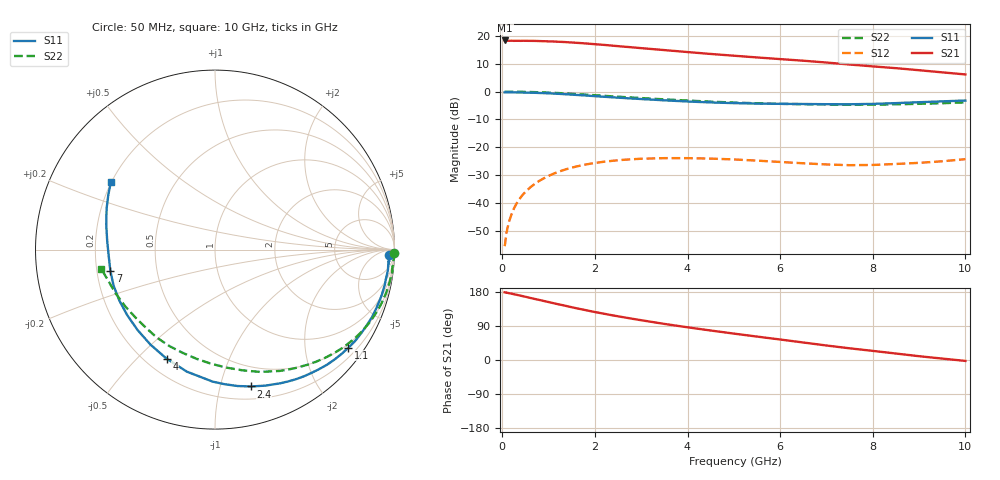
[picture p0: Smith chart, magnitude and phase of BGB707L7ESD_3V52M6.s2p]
! (c) 2009  Infineon Technologies AG, Munich
!  Infineon Technologies AG
!  BGB707L7ESD RU919007 w#7 Sample Build #08493 Teil Nr. 3
!  Vce = 3.5V, Ic = 2.6mA
!  DATUM: 30.06.2009 10:56:40
# GHz  S  MA  R  50
!f  S11  S21  S12  S22
!GHz  Mag  Ang  Mag  Ang  Mag  Ang  Mag  Ang
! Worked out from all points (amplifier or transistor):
!   52 points, 50 MHz to 10 GHz, reference 50 ohm
!   highest |S21| = 18.3 dB at 60 MHz (marker M1)
!   |S21| within 3 dB of that: start of sweep to 3.175 GHz
!   unconditionally stable (mu >= 1): 6.901 GHz to end of sweep
!   at 130 MHz: K = 0.03, MSG = 33.0 dB, |S12| = -47.7 dB
!   at 1.4 GHz: K = 0.08, MSG = 22.7 dB, |S12| = -27.7 dB
!   at 10 GHz: K = 1.06, MAG = 13.7 dB, |S12| = -24.2 dB
!   lowest NFmin = 0.40 dB at 100 MHz
!   S11 on the Smith chart (normalised r, x): 50 MHz: 34, -33; 1.1 GHz: 0.41, -3.00; 2.4 GHz: 0.31, -1.25; 4 GHz: 0.28, -0.61; 7 GHz: 0.26, -0.09; 10 GHz: 0.20, +0.29
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0.05  0.9698 -1.7  8.116 178.8  0.001692 85.8  0.9974 -0.9
0.06  0.9726 -2.2  8.267 178.6  0.001847 87.6  0.9979 -1.3
0.08  0.969 -2.4  8.122 177.8  0.002482 86.7  0.9982 -1.8
0.09  0.9708 -3.1  8.185 178.2  0.002993 84.8  0.9981 -2.0
0.1  0.9713 -3.4  8.145 177.3  0.003127 85.8  0.9976 -2.3
0.15  0.9688 -4.9  8.153 176.2  0.00479 85.6  0.9967 -3.5
0.35  0.966 -11.7  8.155 170.9  0.01117 81.9  0.9931 -8.1
0.7  0.9521 -23.2  8.119 161.1  0.02212 74.2  0.9789 -16.2
1.1  0.9227 -36.3  7.921 150.1  0.03358 65.3  0.9513 -25.3
1.5  0.8833 -48.9  7.598 139.2  0.04329 56.7  0.9136 -34.1
1.8  0.8508 -58.2  7.312 131.6  0.04927 50.8  0.8828 -40.3
2.2  0.808 -69.7  6.88 122.0  0.05538 43.5  0.8407 -48.0
2.4  0.7884 -75.3  6.644 117.4  0.05771 40.1  0.8203 -51.7
2.8  0.7519 -85.9  6.23 109.0  0.06122 34.2  0.7832 -58.6
3.5  0.6979 -103.0  5.553 95.2  0.06412 25.4  0.7263 -69.8
4  0.6649 -113.9  5.124 86.3  0.0641 20.4  0.6908 -77.0
4.5  0.64 -124.2  4.734 77.8  0.06291 16.5  0.6612 -84.3
5.5  0.6103 -143.3  4.1 61.8  0.0579 11.9  0.6174 -99.4
6.5  0.5997 -160.4  3.582 46.2  0.05187 12.9  0.5949 -115.1
7  0.5948 -168.7  3.324 38.3  0.04941 15.5  0.5877 -123.3
8.5  0.622 167.0  2.633 17.1  0.0504 29.1  0.5917 -147.6
10  0.6924 146.8  2.033 -2.4  0.06146 38.0  0.6424 -170.4
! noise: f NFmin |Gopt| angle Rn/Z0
0.1  0.4  0.63  2  0.21
0.45  0.47  0.63  4  0.21
0.9  0.57  0.65  13  0.2
1.8  0.64  0.51  35  0.2
5  1.07  0.41  77  0.19
10  1.82  0.45  -140  0.13
